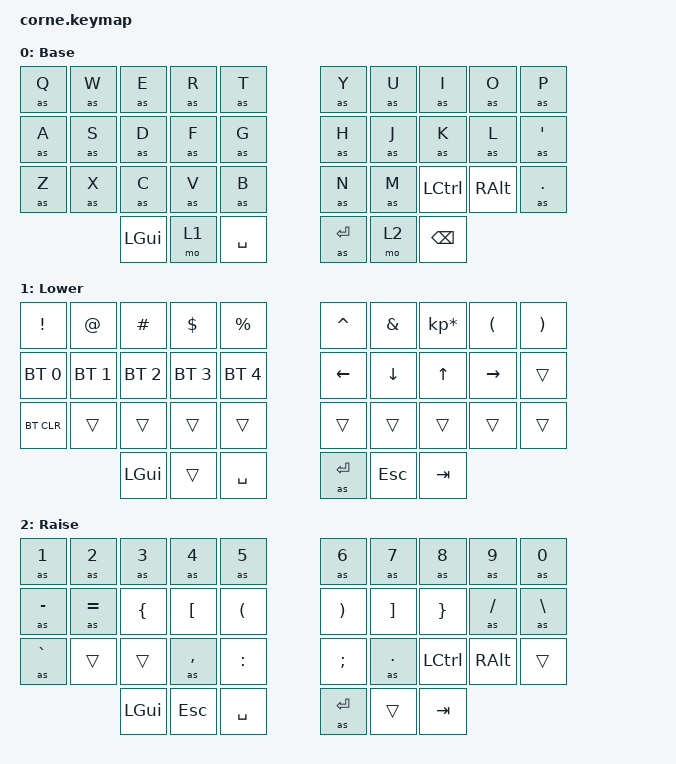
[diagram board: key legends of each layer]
/*
 * Copyright (c) 2020 The ZMK Contributors
 *
 * SPDX-License-Identifier: MIT
 */

#include <behaviors.dtsi>
#include <dt-bindings/zmk/keys.h>
#include <dt-bindings/zmk/bt.h>

/ {
    chosen {
        zmk,physical-layout = &foostan_corne_5col_layout;
    };

    behaviors {
      as_ht: autoshift_hold_tap {
        compatible = "zmk,behavior-hold-tap";
        label = "AUTOSHIFT_HOLD_TAP";
        #binding-cells = <2>;
        tapping-term-ms = <200>;
        bindings = <&shifted>, <&kp>;
      };
    };

    macros {
      shifted: macro_shifted_kp {
        #binding-cells = <1>;
        label = "MACRO_SHIFTED_KP";
        compatible = "zmk,behavior-macro-one-param";
        bindings =
          <&macro_press &kp LSHFT>,
          <&macro_param_1to1 &macro_tap &kp MACRO_PLACEHOLDER>,
          <&macro_release &kp LSHFT>;
      };

      as: autoshift {
        compatible = "zmk,behavior-macro-one-param";
        #binding-cells = <1>;
        label = "AUTOSHIFT_KP";
        bindings =
          <&macro_press>,
          <&macro_param_1to1>,
          <&macro_param_1to2>,
          <&as_ht MACRO_PLACEHOLDER MACRO_PLACEHOLDER>,
          <&macro_pause_for_release>,
          <&macro_release>,
          <&macro_param_1to1>,
          <&macro_param_1to2>,
          <&as_ht MACRO_PLACEHOLDER MACRO_PLACEHOLDER>;
      };
    };

    keymap {
        compatible = "zmk,keymap";

            default_layer {
// -----------------------------------------------------------------------------------------
// |  Q  |  W  |  E  |  R  |  T  |     |  Y  |  U   |  I   |  O   | P |
// |  A  |  S  |  D  |  F  |  G  |     |  H  |  J   |  K   |  L   | ' | 
// |  Z  |  X  |  C  |  V  |  B  |     |  N  |  M   | CTRL | META | . |
//             | GUI | LWR | SPC |     | ENT | RSE  | BSPC |
                display-name = "Base";
                bindings = <
   &as Q &as W &as E &as R &as T     &as Y   &as U  &as I     &as O     &as P
   &as A &as S &as D &as F &as G     &as H   &as J  &as K     &as L     &as SQT
   &as Z &as X &as C &as V &as B     &as N   &as M  &kp LCTL  &kp RALT  &as DOT
        &kp LGUI &mo 1 &kp SPACE     &as RET &mo 2  &kp BSPC
                        >;
                };

                lower_layer {
// -----------------------------------------------------------------------------------------
// | !     |  @  |  #  |  $  |  %  |     |  ^  |  &  |  *  |  (  |  )  |
// | BT1   | BT2 | BT3 | BT4 | BT5 |     | LFT | DWN |  UP | RGT |     |
// | BTCLR |     |     |     |     |     |     |     |     |     |     |
//               | GUI |     | SPC |     | ENT | ESC | TAB |
                        display-name = "Lower";
                        bindings = <
   &kp EXCL     &kp AT       &kp HASH     &kp DLLR     &kp PRCNT        &kp CARET &kp AMPS  &kp KP_MULTIPLY &kp LPAR  &kp RPAR
   &bt BT_SEL 0 &bt BT_SEL 1 &bt BT_SEL 2 &bt BT_SEL 3 &bt BT_SEL 4     &kp LEFT  &kp DOWN  &kp UP          &kp RIGHT &trans 
   &bt BT_CLR   &trans       &trans       &trans       &trans           &trans    &trans    &trans          &trans    &trans 
                             &kp LGUI     &trans       &kp SPACE        &as RET   &kp ESC   &kp TAB
                        >;
                };

                raise_layer {
// -----------------------------------------------------------------------------------------
// | 1! |  2@ |  3# |  4$ |  5% |     |  6^ |  7& |  8* |  9(  |  0)  |
// | -_ |  =+ |  {  |  [  |  (  |     |  )  |  ]  |  }  |  /?  |  \|  |
// | `~ |     |     |  ,< |  :  |     |  ;  |  .> | CTRL| META |      |
//            | GUI | ESC | SPC |     | ENT |     | TAB |
                        display-name = "Raise";
                        bindings = <

   &as N1    &as N2    &as N3    &as N4    &as N5        &as N6    &as N7    &as N8    &as N9   &as N0
   &as MINUS &as EQUAL &kp LBRC  &kp LBKT  &kp LPAR      &kp RPAR  &kp RBKT  &kp RBRC  &as FSLH &as BSLH
   &as GRAVE &trans    &trans    &as COMMA &kp COLON     &kp SEMI  &as DOT   &kp LCTRL &kp RALT &trans
                       &kp LGUI  &kp ESC   &kp SPACE     &as RET   &trans    &kp TAB
                        >;
                };

                extra_1 {
                        status = "reserved";
                };

                extra_2 {
                        status = "reserved";
                };

                extra_3 {
                        status = "reserved";
                };
        };
};
